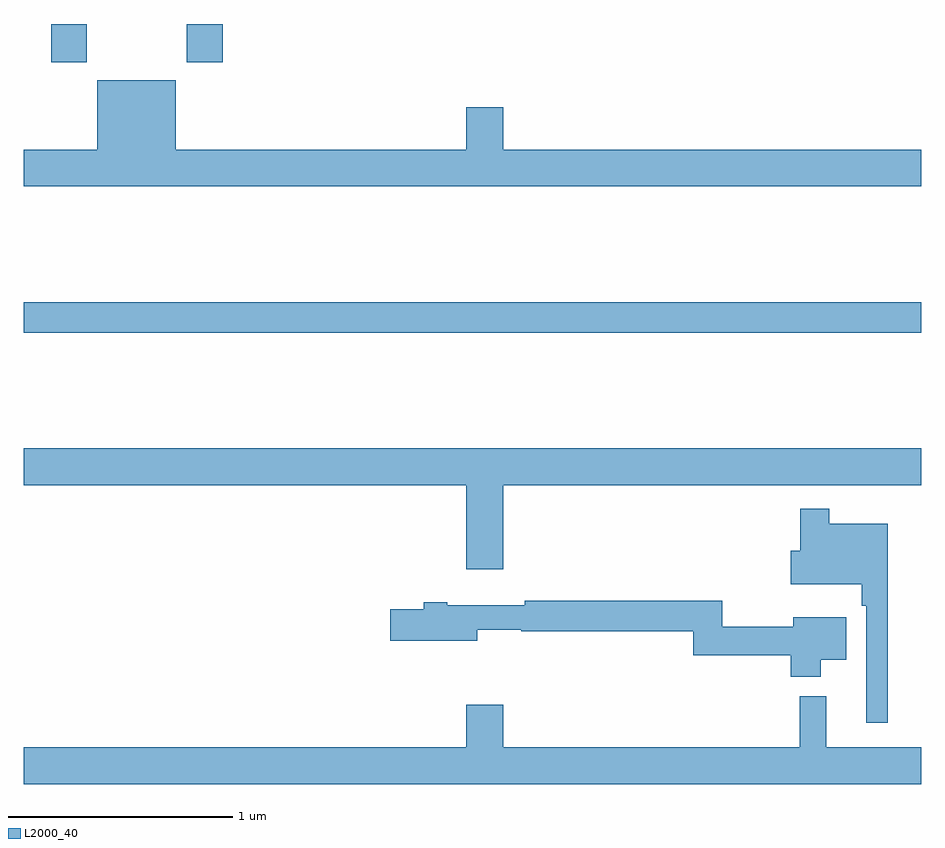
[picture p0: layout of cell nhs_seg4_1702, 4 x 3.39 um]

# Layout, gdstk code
import gdstk
lib = gdstk.Library(unit=1e-6, precision=1e-09)
def R(c, l, rs):  # rectangles x0, y0, x1, y1
    for r in rs: c.add(gdstk.rectangle(r[:2], r[2:], *l))
def P(c, l, *ps):  # polygons
    for p in ps: c.add(gdstk.Polygon(p, *l))
L2000_40 = (2000, 40)

nhs_seg4_1702 = lib.new_cell('nhs_seg4_1702')
R(nhs_seg4_1702, L2000_40, [(199,773.524,203,773.66), (199.121,774.729,199.281,774.9), (199.726,774.729,199.886,774.9)])
P(nhs_seg4_1702, L2000_40, [(203,774.34),(201.136,774.34),(201.136,774.529),(200.972,774.529),(200.972,774.34),(199.678,774.34),(199.678,774.649),(199.328,774.649),(199.328,774.34),(199,774.34),(199,774.176),(203,774.176)],
  [(201.136,772.844),(203,772.844),(203,773.008),(199,773.008),(199,772.844),(200.972,772.844),(200.972,772.47),(201.136,772.47)],
  [(202.852,772.672),(202.591,772.672),(202.591,772.738),(202.462,772.738),(202.462,772.551),(202.418,772.551),(202.418,772.403),(202.735,772.403),(202.735,772.307),(202.755,772.307),(202.755,771.786),(202.852,771.786)],
  [(202.552,772.067),(202.666,772.067),(202.666,772.255),(202.43,772.255),(202.43,772.214),(202.114,772.214),(202.114,772.328),(201.232,772.328),(201.232,772.309),(200.887,772.309),(200.887,772.322),(200.783,772.322),(200.783,772.292),(200.634,772.292),(200.634,772.15),(201.022,772.15),(201.022,772.2),(201.218,772.2),(201.218,772.192),(201.985,772.192),(201.985,772.086),(202.418,772.086),(202.418,771.989),(202.552,771.989)],
  [(203,771.676),(202.577,771.676),(202.577,771.904),(202.459,771.904),(202.459,771.676),(201.136,771.676),(201.136,771.865),(200.972,771.865),(200.972,771.676),(199,771.676),(199,771.512),(203,771.512)])

lib.write_gds('nhs_seg4_1702.gds')
